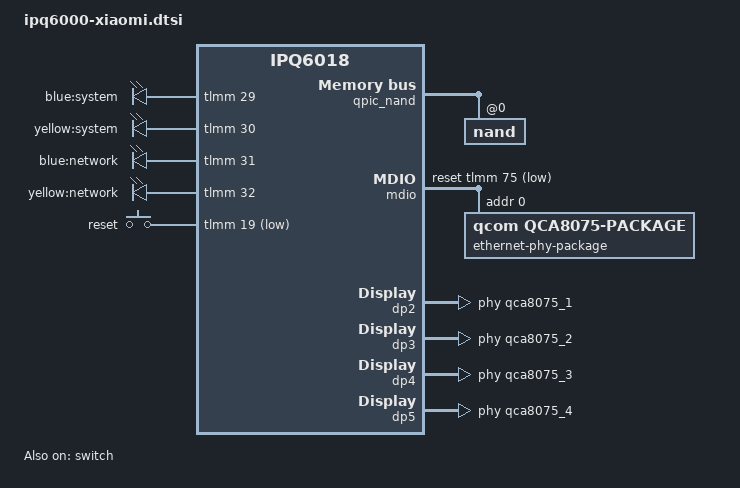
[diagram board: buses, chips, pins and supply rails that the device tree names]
// SPDX-License-Identifier: GPL-2.0-or-later OR MIT

#include "ipq6018.dtsi"
#include "ipq6018-ess.dtsi"
#include "ipq6018-nss.dtsi"
#include "ipq6018-common.dtsi"
#include "ipq6018-cp-cpu.dtsi"

#include <dt-bindings/gpio/gpio.h>
#include <dt-bindings/input/input.h>
#include <dt-bindings/leds/common.h>

/ {
	aliases {
		serial0 = &blsp1_uart3;

		led-boot = &led_system_yellow;
		led-failsafe = &led_system_blue;
		led-running = &led_system_blue;
		led-upgrade = &led_system_yellow;

		ethernet1 = &dp2;
		ethernet2 = &dp3;
		ethernet3 = &dp4;
		ethernet4 = &dp5;
	};

	chosen {
		stdout-path = "serial0:115200n8";
		bootargs-append = " root=/dev/ubiblock0_1";
	};

	leds {
		compatible = "gpio-leds";

		led_system_blue: system-blue {
			label = "blue:system";
			gpios = <&tlmm 29 GPIO_ACTIVE_HIGH>;
		};

		led_system_yellow: system-yellow {
			label = "yellow:system";
			gpios = <&tlmm 30 GPIO_ACTIVE_HIGH>;
		};

		led_network_blue: network-blue {
			label = "blue:network";
			gpios = <&tlmm 31 GPIO_ACTIVE_HIGH>;
		};

		led_network_yellow: network-yellow {
			label = "yellow:network";
			gpios = <&tlmm 32 GPIO_ACTIVE_HIGH>;
		};
	};

	keys {
		compatible = "gpio-keys";

		reset {
			label = "reset";
			linux,code = <KEY_RESTART>;
			gpios = <&tlmm 19 GPIO_ACTIVE_LOW>;
			linux,input-type = <1>;
			debounce-interval = <60>;
		};
	};
};

&qpic_nand {
	status = "okay";

	nand@0 {
		reg = <0>;

		nand-ecc-strength = <4>;
		nand-ecc-step-size = <512>;
		nand-bus-width = <8>;

		partitions {
			compatible = "qcom,smem-part";
		};
	};
};

&mdio {
	status = "okay";

	pinctrl-0 = <&mdio_pins>;
	pinctrl-names = "default";
	reset-gpios = <&tlmm 75 GPIO_ACTIVE_LOW>;

	ethernet-phy-package@0 {
		compatible = "qcom,qca8075-package";
		#address-cells = <1>;
		#size-cells = <0>;
		reg = <0>;

		qca8075_1: ethernet-phy@1 {
			compatible = "ethernet-phy-ieee802.3-c22";
			reg = <1>;
		};

		qca8075_2: ethernet-phy@2 {
			compatible = "ethernet-phy-ieee802.3-c22";
			reg = <2>;
		};

		qca8075_3: ethernet-phy@3 {
			compatible = "ethernet-phy-ieee802.3-c22";
			reg = <3>;
		};

		qca8075_4: ethernet-phy@4 {
			compatible = "ethernet-phy-ieee802.3-c22";
			reg = <4>;
		};
	};
};

&switch {
	status = "okay";

	switch_lan_bmp = <(ESS_PORT2 | ESS_PORT3 | ESS_PORT4)>;
	switch_wan_bmp = <ESS_PORT5>;
	switch_mac_mode = <MAC_MODE_PSGMII>;

	qcom,port_phyinfo {
		port@2 {
			port_id = <2>;
			phy_address = <1>;
		};

		port@3 {
			port_id = <3>;
			phy_address = <2>;
		};

		port@4 {
			port_id = <4>;
			phy_address = <3>;
		};

		port@5 {
			port_id = <5>;
			phy_address = <4>;
		};
	};
};

&dp2 {
	status = "okay";
	phy-handle = <&qca8075_1>;
	label = "lan1";
};

&dp3 {
	status = "okay";
	phy-handle = <&qca8075_2>;
	label = "lan2";
};

&dp4 {
	status = "okay";
	phy-handle = <&qca8075_3>;
	label = "lan3";
};

&dp5 {
	status = "okay";
	phy-handle = <&qca8075_4>;
	label = "wan";
};

&edma {
	status = "okay";
};
